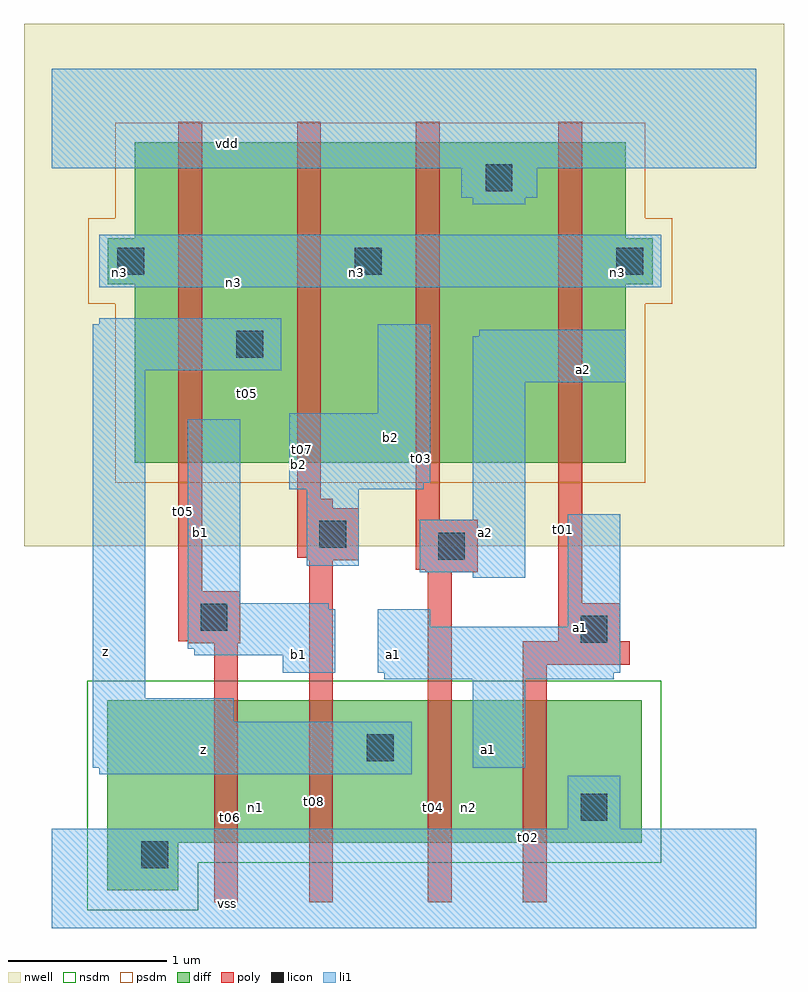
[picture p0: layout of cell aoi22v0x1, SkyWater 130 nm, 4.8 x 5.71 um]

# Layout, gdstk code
import gdstk
lib = gdstk.Library(unit=1e-6, precision=5e-09)
def R(c, l, rs):  # rectangles x0, y0, x1, y1
    for r in rs: c.add(gdstk.rectangle(r[:2], r[2:], *l))
nwell = (64, 20)
diff = (65, 20)
poly = (66, 20)
licon = (66, 44)
li1 = (67, 20)
nsdm = (93, 44)
psdm = (94, 20)

aoi22v0x1 = lib.new_cell('aoi22v0x1')
R(aoi22v0x1, nwell, [(-0.3,2.4,4.5,5.7)])
R(aoi22v0x1, diff, [(0.225,0.225,0.675,1.425), (0.225,0.525,3.6,1.425), (0.4,2.925,3.5,4.95), (0.23,4.055,3.67,4.345)])
R(aoi22v0x1, poly, [(0.9,0.15,1.05,2.115), (1.5,0.15,1.65,2.7), (2.25,0.15,2.4,2.565), (2.85,0.15,3,1.8), (2.85,1.65,3.525,1.8), (3.075,1.65,3.465,2.04), (3.075,1.65,3.225,5.08), (0.735,1.785,1.065,2.115), (0.675,1.8,1.065,2.1), (0.675,1.8,0.825,5.08), (2.235,2.235,2.565,2.565), (2.175,2.25,2.565,2.565), (2.175,2.25,2.565,2.565), (2.175,2.25,2.4,2.565), (2.175,2.25,2.325,5.08), (1.485,2.31,1.815,2.64), (1.485,2.31,1.65,2.7), (1.425,2.325,1.815,2.64), (1.425,2.325,1.65,2.7), (1.425,2.325,1.575,5.08)])
R(aoi22v0x1, licon, [(0.44,0.365,0.61,0.535), (3.215,0.665,3.385,0.835), (1.865,1.04,2.035,1.21), (3.215,1.79,3.385,1.96), (0.815,1.865,0.985,2.035), (2.315,2.315,2.485,2.485), (1.565,2.39,1.735,2.56), (1.04,3.59,1.21,3.76), (0.29,4.115,0.46,4.285), (1.79,4.115,1.96,4.285), (3.44,4.115,3.61,4.285), (2.615,4.64,2.785,4.81)])
R(aoi22v0x1, li1, [(-0.125,-0.015,4.325,0.615), (-0.125,-0.015,4.325,0.615), (3.135,-0.015,3.465,0.95), (0.175,0.96,0.465,3.84), (0.175,0.96,1.025,1.44), (0.175,0.96,2.15,1.29), (0.135,1,0.465,3.8), (0.135,1,1.025,1.44), (0.135,1,2.15,1.29), (2.535,1,2.865,1.89), (0.775,1.035,1.025,1.365), (2.575,1.035,2.825,1.365), (0.135,1.075,0.465,3.725), (1.975,1.56,2.265,2), (1.975,1.56,3.425,1.89), (3.135,1.56,3.425,2.6), (1.335,1.6,1.625,2.04), (1.335,1.6,1.665,2), (1.935,1.6,2.265,2), (1.935,1.6,3.465,1.89), (1.975,1.6,3.465,1.89), (3.135,1.6,3.465,2.6), (1.375,1.635,1.625,1.965), (1.975,1.635,2.225,1.965), (3.135,1.675,3.465,2.525), (0.775,1.71,1.065,3.2), (0.775,1.71,1.625,2.04), (0.775,1.71,1.665,2), (0.735,1.75,1.065,3.2), (0.735,1.75,1.665,2), (0.735,1.75,1.625,2.04), (2.535,2.2,2.865,3.725), (2.575,2.2,2.865,3.765), (2.2,2.235,2.865,2.565), (0.735,2.275,1.065,3.125), (1.485,2.275,1.815,3.24), (2.535,2.275,2.865,3.125), (1.375,2.76,2.225,3.24), (1.935,2.76,2.225,3.8), (1.375,2.8,2.265,3.24), (1.935,2.8,2.265,3.8), (1.375,2.835,1.625,3.165), (1.935,2.875,2.265,3.725), (2.535,3.435,3.5,3.725), (2.575,3.435,3.5,3.765), (3.175,3.435,3.425,3.765), (0.135,3.51,1.325,3.8), (0.175,3.51,1.325,3.84), (0.175,4.035,3.725,4.365), (2.535,4.56,2.865,5.415), (2.46,4.6,2.94,5.415), (-0.125,4.785,4.325,5.415), (-0.125,4.785,4.325,5.415)])
R(aoi22v0x1, nsdm, [(0.1,0.1,0.8,1.55), (0.225,0.225,0.675,1.425), (0.225,0.225,0.675,1.425), (0.38,0.305,0.67,0.595), (0.1,0.4,3.725,1.55), (1.05,0.525,1.5,1.425), (1.05,0.525,1.5,1.425), (1.8,0.525,2.1,1.425), (1.8,0.525,2.1,1.425), (2.4,0.525,2.85,1.425), (2.4,0.525,2.85,1.425), (3.15,0.525,3.6,1.425), (3.15,0.525,3.6,1.425), (3.155,0.605,3.445,0.895), (1.805,0.98,2.095,1.27)])
R(aoi22v0x1, psdm, [(0.275,2.8,3.625,5.075), (0.975,2.925,1.275,4.95), (0.975,2.925,1.275,4.95), (1.725,2.925,2.025,4.95), (1.725,2.925,2.025,4.95), (2.475,2.925,2.925,4.95), (2.475,2.925,2.925,4.95), (0.98,3.53,1.27,3.82), (0.105,3.93,3.795,4.47), (0.23,4.055,0.52,4.345), (1.73,4.055,2.02,4.345), (3.38,4.055,3.67,4.345), (2.555,4.58,2.845,4.87)])
aoi22v0x1.add(gdstk.Label('t06', (1.005,0.685), layer=93, texttype=44))
aoi22v0x1.add(gdstk.Label('n3', (1.025,4.065), layer=94, texttype=20))
aoi22v0x1.add(gdstk.Label('t05', (1.11,3.365), layer=94, texttype=20))
aoi22v0x1.add(gdstk.Label('t06', (1.065,0.75), layer=65, texttype=20))
aoi22v0x1.add(gdstk.Label('t05', (1.175,3.43), layer=65, texttype=20))
aoi22v0x1.add(gdstk.Label('n3', (1.09,4.125), layer=65, texttype=20))
aoi22v0x1.add(gdstk.Label('n2', (2.51,0.75), layer=93, texttype=44))
aoi22v0x1.add(gdstk.Label('n1', (1.16,0.75), layer=93, texttype=44))
aoi22v0x1.add(gdstk.Label('n3', (0.3,4.125), layer=94, texttype=20))
aoi22v0x1.add(gdstk.Label('n3', (3.45,4.125), layer=94, texttype=20))
aoi22v0x1.add(gdstk.Label('n3', (1.8,4.125), layer=94, texttype=20))
aoi22v0x1.add(gdstk.Label('t06', (0.935,0.64), layer=66, texttype=20))
aoi22v0x1.add(gdstk.Label('t05', (0.71,2.62), layer=66, texttype=20))
aoi22v0x1.add(gdstk.Label('t08', (1.535,0.785), layer=66, texttype=20))
aoi22v0x1.add(gdstk.Label('t07', (1.46,3.01), layer=66, texttype=20))
aoi22v0x1.add(gdstk.Label('t04', (2.285,0.75), layer=66, texttype=20))
aoi22v0x1.add(gdstk.Label('t03', (2.21,2.955), layer=66, texttype=20))
aoi22v0x1.add(gdstk.Label('t02', (2.885,0.56), layer=66, texttype=20))
aoi22v0x1.add(gdstk.Label('t01', (3.11,2.505), layer=66, texttype=20))
aoi22v0x1.add(gdstk.Label('n3', (0.33,4.155), layer=66, texttype=44))
aoi22v0x1.add(gdstk.Label('n3', (3.48,4.155), layer=66, texttype=44))
aoi22v0x1.add(gdstk.Label('n3', (1.83,4.155), layer=66, texttype=44))
aoi22v0x1.add(gdstk.Label('z', (0.215,1.735), layer=67, texttype=20))
aoi22v0x1.add(gdstk.Label('z', (0.835,1.115), layer=67, texttype=20))
aoi22v0x1.add(gdstk.Label('b1', (0.815,2.485), layer=67, texttype=20))
aoi22v0x1.add(gdstk.Label('b1', (1.435,1.715), layer=67, texttype=20))
aoi22v0x1.add(gdstk.Label('a1', (2.035,1.715), layer=67, texttype=20))
aoi22v0x1.add(gdstk.Label('b2', (1.435,2.915), layer=67, texttype=20))
aoi22v0x1.add(gdstk.Label('b2', (2.015,3.085), layer=67, texttype=20))
aoi22v0x1.add(gdstk.Label('a1', (2.635,1.115), layer=67, texttype=20))
aoi22v0x1.add(gdstk.Label('a2', (2.615,2.485), layer=67, texttype=20))
aoi22v0x1.add(gdstk.Label('vss', (0.985,0.14), layer=67, texttype=20))
aoi22v0x1.add(gdstk.Label('a1', (3.215,1.885), layer=67, texttype=20))
aoi22v0x1.add(gdstk.Label('a2', (3.235,3.515), layer=67, texttype=20))
aoi22v0x1.add(gdstk.Label('n3', (1.06,4.115), layer=67, texttype=20))
aoi22v0x1.add(gdstk.Label('vdd', (0.985,4.94), layer=67, texttype=20))

lib.write_gds('aoi22v0x1.gds')
